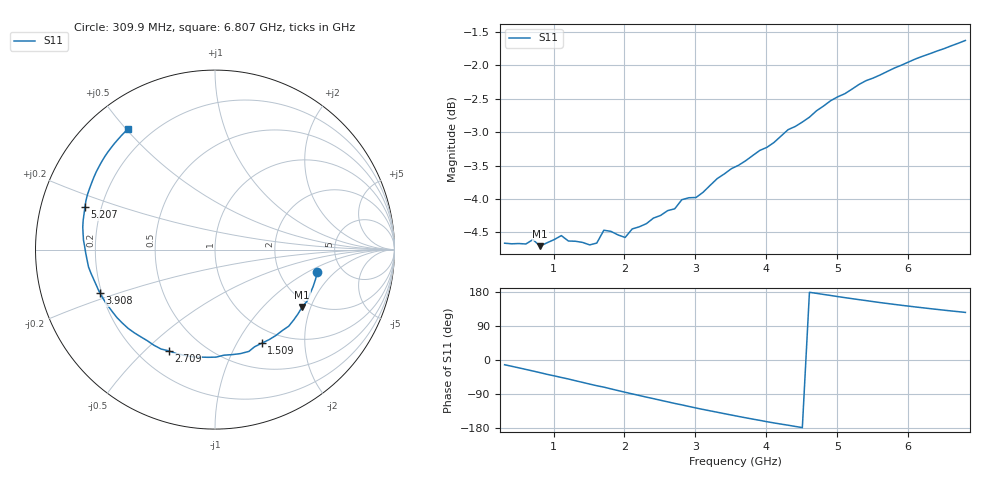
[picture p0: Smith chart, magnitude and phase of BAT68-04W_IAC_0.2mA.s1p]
! Infineon Technologies  Discrete & RF Semiconductors
! BAT68-04W
! IAC = 0.2 mA
! One-Port S-Parameters
# Hz  S  MA  R  50
!f  S11
!Hz  Mag  Ang
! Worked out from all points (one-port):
!   66 points, 309.9 MHz to 6.807 GHz, reference 50 ohm
!   lowest |S11| = -4.7 dB at 809.6 MHz (marker M1), VSWR 3.78, Z = 90.1 - j87.2 ohm
!   |S11| at or under -10 dB: nowhere
!   S11 on the Smith chart (normalised r, x): 309.9 MHz: 3.28, -1.27; 1.509 GHz: 0.80, -1.27; 2.709 GHz: 0.32, -0.59; 3.908 GHz: 0.19, -0.18; 5.207 GHz: 0.14, +0.16; 6.807 GHz: 0.12, +0.51
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3.0985e8  0.5845 -12.6
7.0965e8  0.5882 -29.1
8.096e8  0.5815 -33.4
1.10945e9  0.5923 -46.1
1.2094e9  0.5867 -50.2
1.30935e9  0.5865 -54.7
1.50925e9  0.5828 -63.6
1.70915e9  0.5978 -71.6
1.8091e9  0.5966 -76.2
2.009e9  0.5904 -85.2
2.10895e9  0.5991 -89.4
2.4088e9  0.6104 -102.0
2.6087e9  0.6183 -110.4
2.70865e9  0.6203 -114.6
2.8086e9  0.6301 -118.4
3.0085e9  0.6325 -126.6
3.30835e9  0.6535 -137.9
3.6082e9  0.6687 -148.9
3.90805e9  0.686 -159.3
4.2079e9  0.7033 -169.1
4.4078e9  0.715 -175.3
4.70765e9  0.7346 175.9
4.90755e9  0.7475 170.2
5.2074e9  0.7625 161.9
5.50725e9  0.7773 154.1
6.007e9  0.7992 142.1
6.4068e9  0.8144 133.5
6.8066e9  0.8294 125.6
